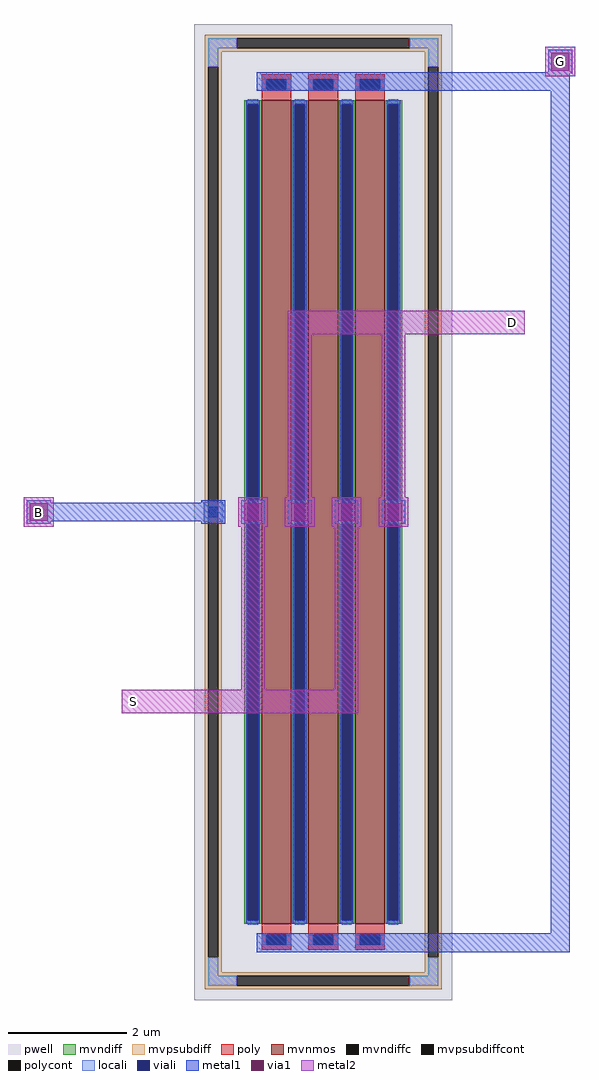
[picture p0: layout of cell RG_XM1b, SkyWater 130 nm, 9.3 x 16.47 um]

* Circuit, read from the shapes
.subckt RG_XM1b B S D G
XM1 D G S B sky130_fd_pr__nfet_g5v0d10v5 w=13.89 l=0.5 m=3
.ends

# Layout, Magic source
magic
tech sky130A
magscale 1 2
use sky130_fd_pr__nfet_g5v0d10v5_HMN43E XDEV
transform 1 0 0 0 1 0
box -436 -1647 436 1647
<< locali >>
rect -404 -33 -338 33
<< viali >>
rect -388 -17 -354 17
<< metal1 >>
rect -411 -40 -331 40
rect -992 -32 -339 32
rect -1000 -40 -920 40
rect -277 -40 -197 40
rect -119 -40 -39 40
rect 39 -40 119 40
rect 197 -40 277 40
rect -224 1421 832 1485
rect -224 -1485 832 -1421
rect 768 -1476 832 1552
rect 760 1480 840 1560
<< via1 >>
rect -990 -30 -930 30
rect -267 -30 -207 30
rect -109 -30 -49 30
rect 49 -30 109 30
rect 207 -30 267 30
rect 770 1490 830 1550
<< metal2 >>
rect -1010 -50 -910 50
rect -287 -50 -187 50
rect -277 -40 -197 40
rect -277 -680 -197 40
rect -129 -50 -29 50
rect -119 -40 -39 40
rect -119 -40 -39 680
rect 29 -50 129 50
rect 39 -40 119 40
rect 39 -680 119 40
rect 187 -50 287 50
rect 197 -40 277 40
rect 197 -40 277 680
rect -680 -680 119 -600
rect -119 600 680 680
rect 750 1470 850 1570
<< labels >>
rlabel metal2 -990 -30 -930 30 0 B
port 1 nsew
rlabel metal2 -670 -670 -610 -610 0 S
port 2 nsew
rlabel metal2 610 610 670 670 0 D
port 3 nsew
rlabel metal2 770 1490 830 1550 0 G
port 4 nsew
<< end >>

# cell sky130_fd_pr__nfet_g5v0d10v5_HMN43E: kit device sky130_fd_pr__nfet_g5v0d10v5, w 13.888 l 0.5 m 1 nf 3 diffcov 100 polycov 100 guard 1 glc 1 grc 1 gtc 1 gbc 1 tbcov 100 rlcov 100 topc 1 botc 1 poverlap 0 doverlap 1 lmin 0.50 wmin 0.42 compatible {sky130_fd_pr__nfet_01v8 sky130_fd_pr__nfet_01v8_lvt sky130_fd_bs_flash__special_sonosfet_star sky130_fd_pr__nfet_g5v0d10v5 sky130_fd_pr__nfet_05v0_nvt sky130_fd_pr__nfet_03v3_nvt} full_metal 1 viasrc 100 viadrn 100 viagate 100 viagb 0 viagr 0 viagl 0 viagt 0
